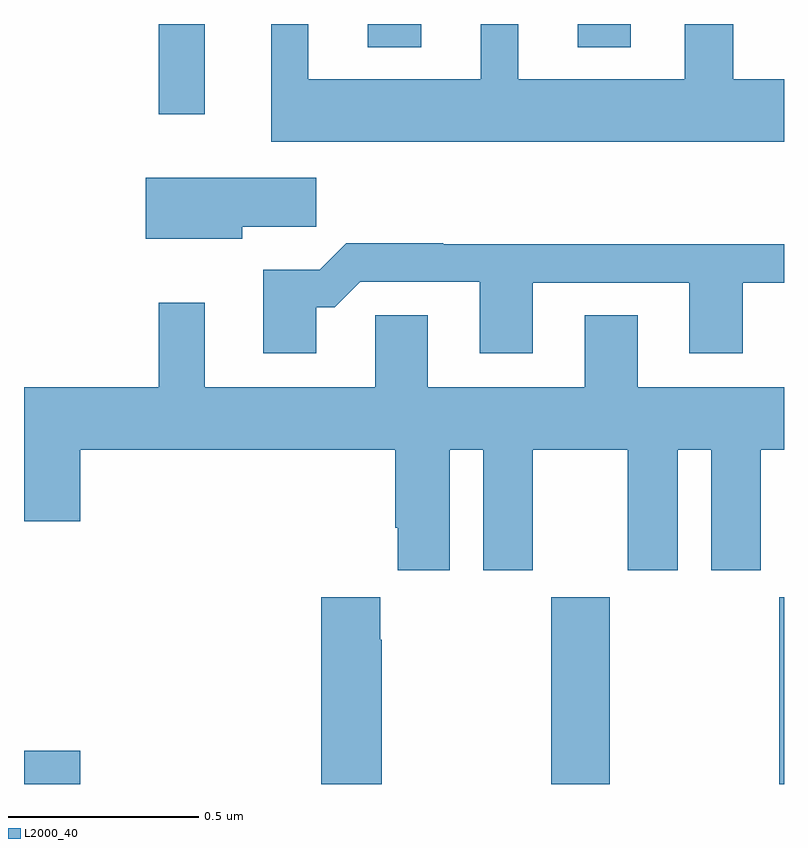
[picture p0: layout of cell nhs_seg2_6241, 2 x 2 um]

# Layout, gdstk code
import gdstk
lib = gdstk.Library(unit=1e-6, precision=1e-09)
def R(c, l, rs):  # rectangles x0, y0, x1, y1
    for r in rs: c.add(gdstk.rectangle(r[:2], r[2:], *l))
def P(c, l, *ps):  # polygons
    for p in ps: c.add(gdstk.Polygon(p, *l))
L2000_40 = (2000, 40)

nhs_seg2_6241 = lib.new_cell('nhs_seg2_6241')
R(nhs_seg2_6241, L2000_40, [(189,602.8,189.148,602.887), (190.387,602.8,190.542,603.292), (190.987,602.8,191,603.292), (189.354,604.563,189.475,604.8), (189.905,604.739,190.045,604.8), (190.457,604.739,190.597,604.8)])
P(nhs_seg2_6241, L2000_40, [(191,604.654),(190.867,604.654),(190.867,604.8),(190.739,604.8),(190.739,604.654),(190.3,604.654),(190.3,604.8),(190.202,604.8),(190.202,604.654),(189.748,604.654),(189.748,604.8),(189.65,604.8),(189.65,604.49),(191,604.49)],
  [(189.574,604.267),(189.769,604.267),(189.769,604.396),(189.32,604.396),(189.32,604.235),(189.574,604.235)],
  [(189.769,604.055),(189.818,604.055),(189.885,604.122),(190.199,604.122),(190.199,603.933),(190.339,603.933),(190.339,604.119),(190.751,604.119),(190.751,603.933),(190.891,603.933),(190.891,604.119),(191,604.119),(191,604.22),(190.103,604.22),(190.103,604.223),(189.848,604.223),(189.778,604.153),(189.629,604.153),(189.629,603.933),(189.769,603.933)],
  [(190.12,603.68),(190.208,603.68),(190.208,603.363),(190.339,603.363),(190.339,603.68),(190.589,603.68),(190.589,603.363),(190.72,603.363),(190.72,603.68),(190.808,603.68),(190.808,603.363),(190.939,603.363),(190.939,603.68),(191,603.68),(191,603.844),(190.615,603.844),(190.615,604.034),(190.475,604.034),(190.475,603.844),(190.063,603.844),(190.063,604.034),(189.924,604.034),(189.924,603.844),(189.475,603.844),(189.475,604.066),(189.354,604.066),(189.354,603.844),(189,603.844),(189,603.492),(189.148,603.492),(189.148,603.68),(189.977,603.68),(189.977,603.475),(189.983,603.475),(189.983,603.363),(190.12,603.363)],
  [(189.942,603.179),(189.937,603.179),(189.937,603.292),(189.782,603.292),(189.782,602.8),(189.942,602.8)])

lib.write_gds('nhs_seg2_6241.gds')
